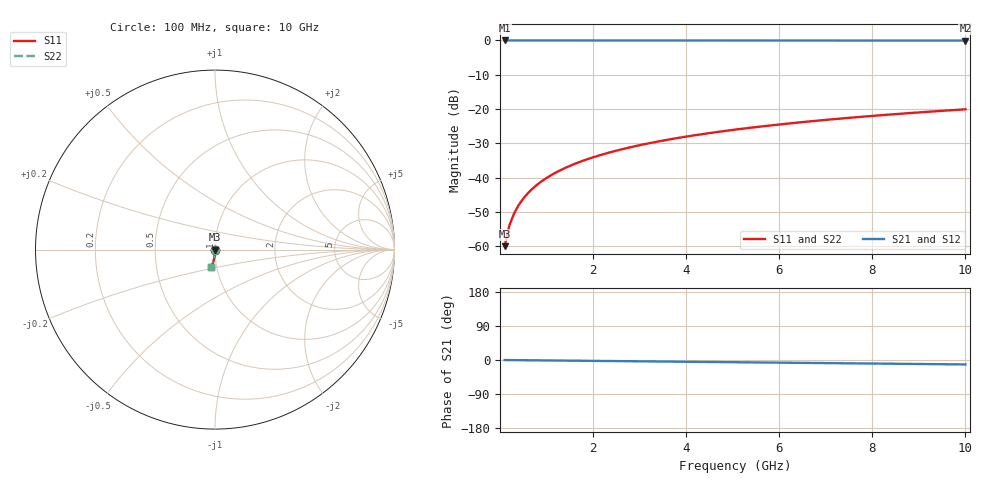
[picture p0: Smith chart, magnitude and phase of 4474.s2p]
# Hz S RI R 50.00
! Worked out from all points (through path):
!   100 points, 100 MHz to 10 GHz, reference 50 ohm
!   highest |S21| = 0.00 dB at 100 MHz (marker M1); lowest = 0.0 dB at 10 GHz (marker M2)
!   group delay of S21, straight-line fit = 3.25 ps
!   lowest |S11| = -60.0 dB at 100 MHz (marker M3), VSWR 1.00, Z = 50 - j0.0985 ohm
!   |S11| at or under -10 dB: start of sweep to end of sweep
!   |S22| runs from -60.0 to -20.1 dB; largest |S21 - S12| = 0
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1e8  0.000166 -0.000985  0.9998 -0.00202  0.9998 -0.00202  0.000166 -0.000985
2e8  0.00016 -0.00197  0.9998 -0.00404  0.9998 -0.00404  0.00016 -0.00197
3e8  0.000149 -0.00295  0.9998 -0.00605  0.9998 -0.00605  0.000149 -0.00295
4e8  0.000135 -0.00394  0.9998 -0.00807  0.9998 -0.00807  0.000135 -0.00394
5e8  0.000116 -0.00492  0.9998 -0.0101  0.9998 -0.0101  0.000116 -0.00492
6e8  9.3e-05 -0.00591  0.9997 -0.0121  0.9997 -0.0121  9.3e-05 -0.00591
7e8  6.62e-05 -0.0069  0.9997 -0.0141  0.9997 -0.0141  6.62e-05 -0.0069
8e8  3.54e-05 -0.00788  0.9997 -0.0161  0.9997 -0.0161  3.54e-05 -0.00788
9e8  4.95e-07 -0.00887  0.9996 -0.0182  0.9996 -0.0182  4.95e-07 -0.00887
1.1e9  -8.13e-05 -0.0108  0.9995 -0.0222  0.9995 -0.0222  -8.13e-05 -0.0108
1.4e9  -0.000234 -0.0138  0.9993 -0.0283  0.9993 -0.0283  -0.000234 -0.0138
1.8e9  -0.000494 -0.0177  0.999 -0.0364  0.999 -0.0364  -0.000494 -0.0177
2.1e9  -0.000731 -0.0207  0.9987 -0.0424  0.9987 -0.0424  -0.000731 -0.0207
2.5e9  -0.0011 -0.0247  0.9982 -0.0505  0.9982 -0.0505  -0.0011 -0.0247
2.9e9  -0.00154 -0.0286  0.9976 -0.0586  0.9976 -0.0586  -0.00154 -0.0286
3.4e9  -0.00218 -0.0335  0.9968 -0.0687  0.9968 -0.0687  -0.00218 -0.0335
4.2e9  -0.00341 -0.0414  0.9953 -0.085  0.9953 -0.085  -0.00341 -0.0414
5.1e9  -0.00511 -0.0502  0.9931 -0.1032  0.9931 -0.1032  -0.00511 -0.0502
5.9e9  -0.00689 -0.058  0.9908 -0.1194  0.9908 -0.1194  -0.00689 -0.058
6.7e9  -0.00893 -0.0658  0.9882 -0.1356  0.9882 -0.1356  -0.00893 -0.0658
8.4e9  -0.0141 -0.082  0.9816 -0.1698  0.9816 -0.1698  -0.0141 -0.082
1e10  -0.02 -0.097  0.974 -0.2018  0.974 -0.2018  -0.02 -0.097
